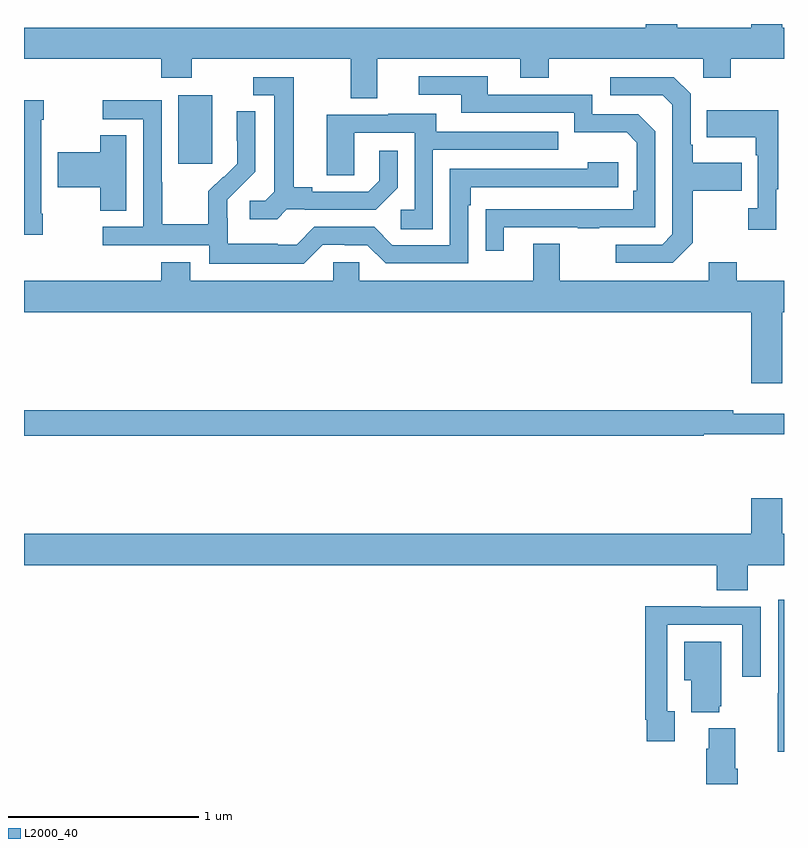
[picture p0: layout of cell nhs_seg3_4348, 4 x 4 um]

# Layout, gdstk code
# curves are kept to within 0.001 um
import gdstk
lib = gdstk.Library(unit=1e-6, precision=1e-09)
def R(c, l, rs):  # rectangles x0, y0, x1, y1
    for r in rs: c.add(gdstk.rectangle(r[:2], r[2:], *l))
def P(c, l, *ps):  # polygons
    for p in ps: c.add(gdstk.Polygon(p, *l))
L2000_40 = (2000, 40)

nhs_seg3_4348 = lib.new_cell('nhs_seg3_4348')
R(nhs_seg3_4348, L2000_40, [(341.813,733.665,341.992,734.026)])
P(nhs_seg3_4348, L2000_40, [(344.574,734.117),(344.721,734.117),(344.721,734.216),(345,734.216),(345,734.38),(344.992,734.38),(344.992,734.4),(344.828,734.4),(344.828,734.38),(344.437,734.38),(344.437,734.4),(344.273,734.4),(344.273,734.38),(341,734.38),(341,734.216),(341.723,734.216),(341.723,734.117),(341.883,734.117),(341.883,734.216),(342.719,734.216),(342.719,734.008),(342.859,734.008),(342.859,734.216),(343.613,734.216),(343.613,734.117),(343.761,734.117),(343.761,734.216),(344.574,734.216)],
  [(343.525,733.329),(343.915,733.329),(343.915,733.324),(344.027,733.324),(344.027,733.329),(344.322,733.329),(344.322,733.836),(344.232,733.926),(343.992,733.926),(343.992,734.028),(343.441,734.028),(343.441,734.124),(343.077,734.124),(343.077,734.028),(343.301,734.028),(343.301,733.932),(343.896,733.932),(343.896,733.829),(344.173,733.829),(344.226,733.776),(344.226,733.522),(344.206,733.522),(344.206,733.425),(343.429,733.424),(343.429,733.206),(343.525,733.206)],
  [(342.384,733.425),(342.478,733.425),(342.478,733.422),(342.85,733.422),(342.966,733.538),(342.966,733.732),(342.869,733.732),(342.869,733.575),(342.812,733.518),(342.517,733.518),(342.517,733.541),(342.421,733.541),(342.421,734.121),(342.207,734.121),(342.207,734.025),(342.317,734.025),(342.317,733.517),(342.27,733.47),(342.189,733.47),(342.189,733.373),(342.332,733.373)],
  [(344.521,733.249),(344.521,733.522),(344.777,733.522),(344.777,733.669),(344.521,733.669),(344.521,733.765),(344.508,733.765),(344.508,734.034),(344.421,734.121),(344.085,734.121),(344.085,734.025),(344.361,734.025),(344.412,733.974),(344.412,733.293),(344.358,733.239),(344.115,733.239),(344.115,733.143),(344.415,733.143)],
  [(341.099,733.402),(341.091,733.402),(341.091,733.895),(341.104,733.895),(341.104,734),(341,734),(341,733.29),(341.099,733.29)],
  [(342.573,733.239),(342.689,733.239),(342.689,733.236),(342.807,733.236),(342.903,733.14),(343.338,733.14),(343.338,733.445),(343.351,733.445),(343.351,733.542),(344.128,733.542),(344.128,733.672),(343.967,733.672),(343.967,733.638),(343.242,733.638),(343.242,733.236),(342.939,733.236),(342.843,733.332),(342.528,733.332),(342.435,733.239),(342.335,733.239),(342.335,733.243),(342.072,733.243),(342.072,733.377),(342.07,733.377),(342.07,733.474),(342.216,733.622),(342.216,733.94),(342.12,733.94),(342.12,733.786),(342.122,733.786),(342.122,733.664),(342.051,733.593),(342.048,733.596),(341.971,733.519),(341.971,733.345),(341.727,733.345),(341.727,733.568),(341.724,733.568),(341.724,733.998),(341.415,733.998),(341.415,733.899),(341.628,733.899),(341.628,733.332),(341.415,733.332),(341.415,733.236),(341.976,733.236),(341.976,733.139),(342.473,733.139)],
  [(344.959,733.529),(344.971,733.529),(344.971,733.945),(344.593,733.945),(344.593,733.805),(344.85,733.805),(344.85,733.709),(344.862,733.709),(344.862,733.43),(344.811,733.43),(344.811,733.317),(344.959,733.317)],
  [(343.152,733.737),(343.811,733.737),(343.811,733.833),(343.171,733.833),(343.171,733.927),(342.917,733.927),(342.917,733.923),(342.593,733.923),(342.593,733.603),(342.738,733.603),(342.738,733.827),(343.056,733.827),(343.056,733.422),(342.984,733.422),(342.984,733.321),(343.152,733.321)],
  [(341.539,733.814),(341.401,733.814),(341.401,733.724),(341.178,733.724),(341.178,733.541),(341.401,733.541),(341.401,733.417),(341.539,733.417)],
  [(344.992,732.884),(345,732.884),(345,733.048),(344.751,733.048),(344.751,733.147),(344.603,733.147),(344.603,733.048),(343.819,733.048),(343.819,733.243),(343.679,733.243),(343.679,733.048),(342.765,733.048),(342.765,733.146),(342.627,733.146),(342.627,733.048),(341.875,733.048),(341.875,733.147),(341.723,733.147),(341.723,733.048),(341,733.048),(341,732.884),(344.828,732.884),(344.828,732.51),(344.992,732.51)],
  [(344.578,732.24),(345,732.24),(345,732.349),(344.732,732.349),(344.732,732.368),(341,732.368),(341,732.232),(344.578,732.232)],
  [(344.81,731.552),(345,731.552),(345,731.716),(344.992,731.716),(344.992,731.905),(344.828,731.905),(344.828,731.716),(341,731.716),(341,731.552),(344.645,731.552),(344.645,731.419),(344.81,731.419)],
  [(345,731.371),(344.97,731.371),(344.97,730.877),(344.968,730.877),(344.968,730.571),(345,730.571)],
  [(344.425,730.782),(344.385,730.782),(344.385,731.238),(344.781,731.238),(344.781,730.965),(344.877,730.965),(344.877,731.334),(344.561,731.334),(344.561,731.336),(344.269,731.336),(344.269,730.738),(344.277,730.738),(344.277,730.626),(344.425,730.626)],
  [(344.66,730.809),(344.671,730.809),(344.671,731.149),(344.474,731.149),(344.474,730.946),(344.513,730.946),(344.513,730.778),(344.66,730.778)],
  [(344.756,730.48),(344.743,730.48),(344.743,730.693),(344.603,730.693),(344.603,730.586),(344.591,730.586),(344.591,730.4),(344.756,730.4)])

lib.write_gds('nhs_seg3_4348.gds')
